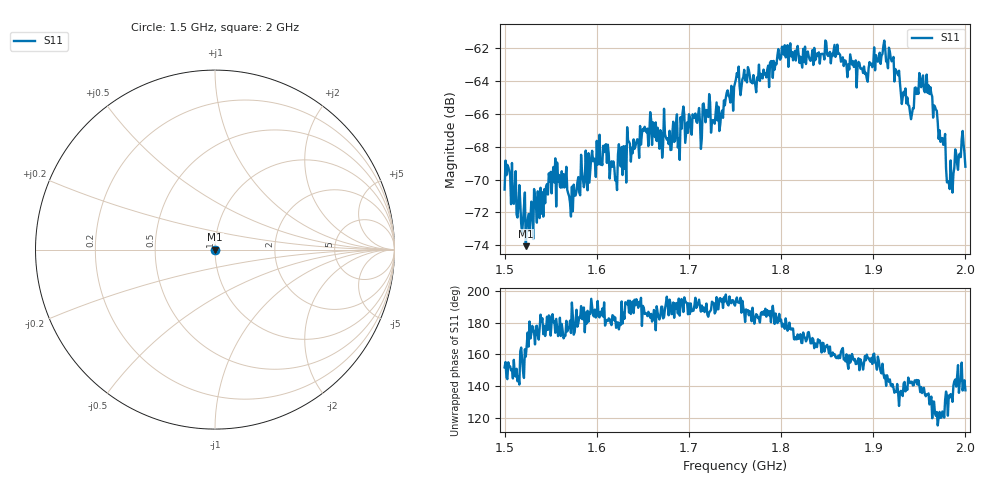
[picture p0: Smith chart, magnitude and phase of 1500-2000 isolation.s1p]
! NanoVNA-App by SYSJOINT et al v1.1.209 (+OD18)
! Date: 2025-09-17 10:25:24
! Start: 1.5GHz Stop: 2GHz Points: 501
! S-Parameter data: F S11
# Hz S RI R 50
!  Frequency  S11_Real  S11_Imag
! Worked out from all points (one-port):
!   501 points, 1.5 GHz to 2 GHz, reference 50 ohm
!   lowest |S11| = -74.1 dB at 1.523 GHz (marker M1), VSWR 1.00, Z = 50 + j0.00722 ohm
!   |S11| at or under -10 dB: start of sweep to end of sweep
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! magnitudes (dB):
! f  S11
! 1.5 GHz  -70.6
! 1.503 GHz  -69.1
! 1.523 GHz  -74.1
! 1.553 GHz  -69.2
! 1.563 GHz  -70.5
! 1.572 GHz  -72.3
! 1.596 GHz  -68.9
! 1.611 GHz  -69.0
! 1.62 GHz  -70.1
! 1.625 GHz  -68.7
! 1.63 GHz  -69.3
! 1.66 GHz  -67.9
! 1.688 GHz  -68.1
! 1.693 GHz  -66.0
! 1.735 GHz  -66.0
! 1.75 GHz  -64.1
! 1.813 GHz  -62.7
! 1.875 GHz  -62.4
! 1.893 GHz  -63.9
! 1.911 GHz  -61.9
! 1.938 GHz  -65.5
! 1.942 GHz  -66.0
! 1.952 GHz  -64.4
! 1.968 GHz  -65.7
! 1.976 GHz  -67.9
! 1.981 GHz  -70.1
! 1.996 GHz  -67.5
! 2 GHz  -69.2
